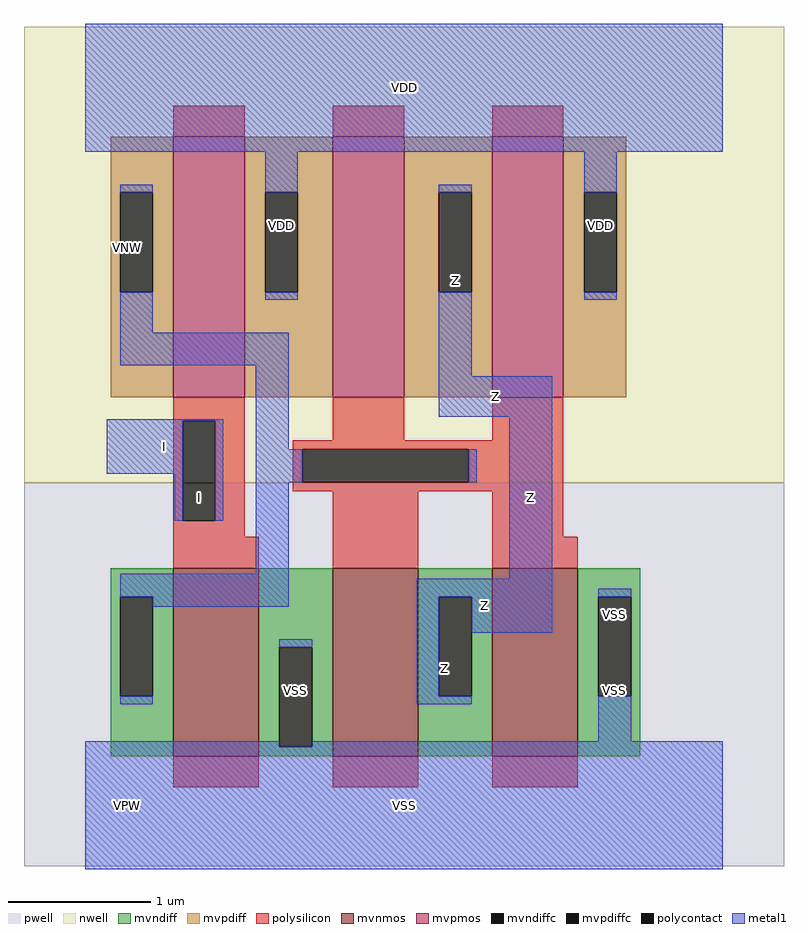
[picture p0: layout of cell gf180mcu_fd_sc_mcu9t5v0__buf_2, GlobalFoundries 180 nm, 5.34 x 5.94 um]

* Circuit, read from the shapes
.subckt gf180mcu_fd_sc_mcu9t5v0__buf_2 I Z VDD VNW VPW VSS
XM1 VSS I n1 VPW nfet_06v0 w=1.32u l=0.6u
XM2 Z n1 VSS VPW nfet_06v0 w=1.32u l=0.6u m=2
XM3 VDD I n1 VNW pfet_06v0 w=1.83u l=0.5u
XM4 Z n1 VDD VNW pfet_06v0 w=1.83u l=0.5u m=2
.ends

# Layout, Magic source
magic
tech gf180mcuD
magscale 1 10
<< nwell >>
rect -86 453 982 1094
<< pwell >>
rect -86 -86 982 453
<< mvnmos >>
rect 124 69 244 333
rect 348 69 468 333
rect 572 69 692 333
<< mvpmos >>
rect 124 573 224 939
rect 348 573 448 939
rect 572 573 672 939
<< mvndiff >>
rect 36 293 124 333
rect 36 153 49 293
rect 95 153 124 293
rect 36 69 124 153
rect 244 222 348 333
rect 244 82 273 222
rect 319 82 348 222
rect 244 69 348 82
rect 468 293 572 333
rect 468 153 497 293
rect 543 153 572 293
rect 468 69 572 153
rect 692 293 780 333
rect 692 153 721 293
rect 767 153 780 293
rect 692 69 780 153
<< mvpdiff >>
rect 36 861 124 939
rect 36 721 49 861
rect 95 721 124 861
rect 36 573 124 721
rect 224 861 348 939
rect 224 721 253 861
rect 299 721 348 861
rect 224 573 348 721
rect 448 861 572 939
rect 448 721 497 861
rect 543 721 572 861
rect 448 573 572 721
rect 672 861 760 939
rect 672 721 701 861
rect 747 721 760 861
rect 672 573 760 721
<< mvndiffc >>
rect 49 153 95 293
rect 273 82 319 222
rect 497 153 543 293
rect 721 153 767 293
<< mvpdiffc >>
rect 49 721 95 861
rect 253 721 299 861
rect 497 721 543 861
rect 701 721 747 861
<< polysilicon >>
rect 124 939 224 983
rect 348 939 448 983
rect 572 939 672 983
rect 124 540 224 573
rect 124 400 137 540
rect 183 400 224 540
rect 348 513 448 573
rect 572 513 672 573
rect 292 500 672 513
rect 292 454 305 500
rect 539 454 672 500
rect 292 441 672 454
rect 124 377 224 400
rect 124 333 244 377
rect 348 333 468 441
rect 572 377 672 441
rect 572 333 692 377
rect 124 25 244 69
rect 348 25 468 69
rect 572 25 692 69
<< polycontact >>
rect 137 400 183 540
rect 305 454 539 500
<< metal1 >>
rect 0 918 896 1098
rect 49 861 95 872
rect 49 664 95 721
rect 253 861 299 918
rect 253 710 299 721
rect 497 861 543 872
rect 49 618 286 664
rect 30 540 194 542
rect 30 466 137 540
rect 126 400 137 466
rect 183 400 194 540
rect 240 500 286 618
rect 497 603 543 721
rect 701 861 747 918
rect 701 710 747 721
rect 497 546 656 603
rect 240 454 305 500
rect 539 454 550 500
rect 240 325 286 454
rect 49 293 286 325
rect 596 318 656 546
rect 95 279 286 293
rect 466 293 656 318
rect 49 142 95 153
rect 273 222 319 233
rect 0 82 273 90
rect 466 153 497 293
rect 543 242 656 293
rect 721 293 767 304
rect 466 142 543 153
rect 721 90 767 153
rect 319 82 896 90
rect 0 -90 896 82
<< labels >>
flabel metal1 s 30 466 194 542 0 FreeSans 200 0 0 0 I
port 1 nsew default input
flabel metal1 s 0 918 896 1098 0 FreeSans 200 0 0 0 VDD
port 3 nsew power bidirectional abutment
flabel metal1 s 721 233 767 304 0 FreeSans 200 0 0 0 VSS
port 6 nsew ground bidirectional abutment
flabel metal1 s 497 603 543 872 0 FreeSans 200 0 0 0 Z
port 2 nsew default output
flabel nwell s 10 734 110 834 0 FreeSans 400 0 0 0 VNW
port 4 nsew power bidirectional
flabel pwell s 10 -50 110 50 0 FreeSans 400 0 0 0 VPW
port 5 nsew ground bidirectional
rlabel metal1 s 126 400 194 466 1 I
port 1 nsew default input
rlabel metal1 s 497 546 656 603 1 Z
port 2 nsew default output
rlabel metal1 s 596 318 656 546 1 Z
port 2 nsew default output
rlabel metal1 s 466 242 656 318 1 Z
port 2 nsew default output
rlabel metal1 s 466 142 543 242 1 Z
port 2 nsew default output
rlabel metal1 s 701 710 747 918 1 VDD
port 3 nsew power bidirectional abutment
rlabel metal1 s 253 710 299 918 1 VDD
port 3 nsew power bidirectional abutment
rlabel metal1 s 721 90 767 233 1 VSS
port 6 nsew ground bidirectional abutment
rlabel metal1 s 273 90 319 233 1 VSS
port 6 nsew ground bidirectional abutment
rlabel metal1 s 0 -90 896 90 1 VSS
port 6 nsew ground bidirectional abutment
<< properties >>
string FIXED_BBOX 0 0 896 1008
string GDS_END 1265180
string GDS_FILE $PDKPATH/libs.ref/gf180mcu_fd_sc_mcu9t5v0/gds/gf180mcu_fd_sc_mcu9t5v0.gds
string GDS_START 1261670
string LEFclass core
string LEFsite GF018hv5v_green_sc9
string LEFsymmetry X Y
<< end >>
